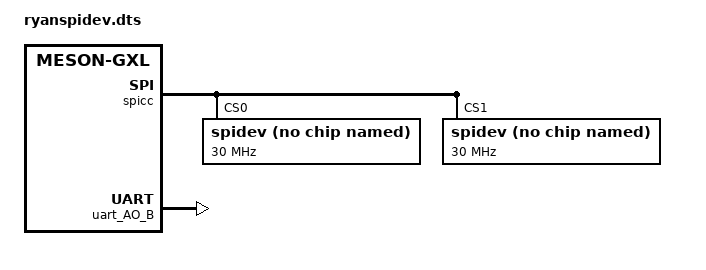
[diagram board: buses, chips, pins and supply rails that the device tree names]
/*
 * Copyright (c) 2017 BayLibre, SAS.
 * Author: Neil Armstrong <narmstrong@baylibre.com>
 *
 * SPDX-License-Identifier: (GPL-2.0+ OR MIT)
 */

/*
 * Overlay aimed to enable a spidev interface on SPICC bus with CS0
 */

/dts-v1/;
/plugin/;

/ {
	compatible = "libretech,cc", "amlogic,s905x", "amlogic,meson-gxl";

	fragment@0 {
		target = <&spicc>;
		
		__overlay__ {
			spidev@0 {
				compatible = "rohm,dh2228fv";
				reg = <0>;
				spi-max-frequency = <30000000>;
			};
			spidev@1 {
				compatible = "rohm,dh2228fv";
				reg = <1>;
				spi-max-frequency = <30000000>;
			};
		};
	};
	fragment@1 {
		target-path = "/aliases";

		__overlay__ {
			serial2 = "/soc/bus@c8100000/serial@4e0";
		};
	};
	fragment@2 {
		target = <&uart_AO_B>;

		__overlay__ {
			status = "okay";
			pinctrl-0 = <&uart_ao_b_pins>;
			pinctrl-names = "default";
		};
	};
};
